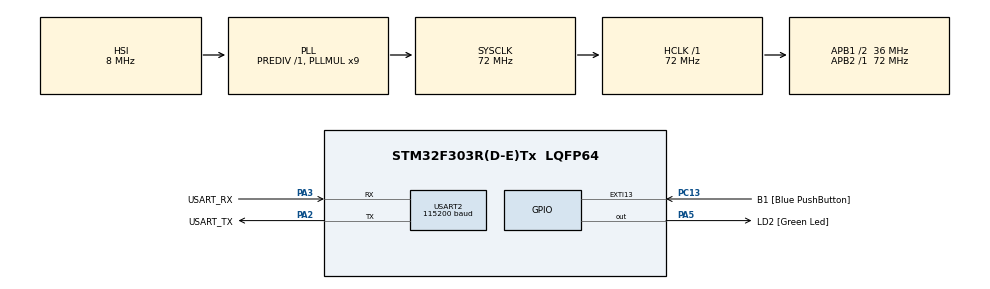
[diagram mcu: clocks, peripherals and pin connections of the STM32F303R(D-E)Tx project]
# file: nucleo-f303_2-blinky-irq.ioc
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Mcu.Family=STM32F3
Mcu.Name=STM32F303R(D-E)Tx
Mcu.Package=LQFP64
NVIC.PriorityGroup=NVIC_PRIORITYGROUP_0
PA13.GPIO_Label=TMS
PA13.Mode=Serial_Wire
PA13.Signal=SYS_JTMS-SWDIO
PA14.GPIO_Label=TCK
PA14.Mode=Serial_Wire
PA14.Signal=SYS_JTCK-SWCLK
PA2.GPIO_Label=USART_TX
PA2.GPIO_Mode=GPIO_MODE_AF_PP
PA2.GPIO_PuPd=GPIO_NOPULL
PA2.GPIO_Speed=GPIO_SPEED_FREQ_LOW
PA2.Mode=Asynchronous
PA2.Signal=USART2_TX
PA3.GPIO_Label=USART_RX
PA3.GPIO_Mode=GPIO_MODE_AF_PP
PA3.GPIO_PuPd=GPIO_NOPULL
PA3.GPIO_Speed=GPIO_SPEED_FREQ_LOW
PA3.Mode=Asynchronous
PA3.Signal=USART2_RX
PA5.GPIO_Label=LD2 [Green Led]
PA5.GPIO_Mode=GPIO_MODE_OUTPUT_PP
PA5.GPIO_PuPd=GPIO_NOPULL
PA5.GPIO_Speed=GPIO_SPEED_FREQ_LOW
PA5.Signal=GPIO_Output
PB3.GPIO_Label=SWO
PB3.Signal=SYS_JTDO-TRACESWO
PC13.GPIO_Label=B1 [Blue PushButton]
PC13.GPIO_ModeDefaultEXTI=GPIO_MODE_IT_FALLING
PC13.Signal=GPXTI13
PC14-OSC32_IN.Mode=LSE-External-Oscillator
PC14-OSC32_IN.Signal=RCC_OSC32_IN
PC15-OSC32_OUT.Mode=LSE-External-Oscillator
PC15-OSC32_OUT.Signal=RCC_OSC32_OUT
PF0-OSC_IN.Mode=HSE-External-Clock-Source
PF0-OSC_IN.Signal=RCC_OSC_IN
PF1-OSC_OUT.Signal=RCC_OSC_OUT
ProjectManager.HeapSize=0x200
ProjectManager.StackSize=0x400
ProjectManager.TargetToolchain=STM32CubeIDE
RCC.AHBFreq_Value=72000000
RCC.APB1CLKDivider=RCC_HCLK_DIV2
RCC.APB1Freq_Value=36000000
RCC.APB1TimFreq_Value=72000000
RCC.APB2Freq_Value=72000000
RCC.APB2TimFreq_Value=72000000
RCC.CortexFreq_Value=72000000
RCC.HCLKFreq_Value=72000000
RCC.HSE_VALUE=8000000
RCC.HSI_VALUE=8000000
RCC.PLLM=8
RCC.PLLMUL=RCC_PLL_MUL9
RCC.PLLN=336
RCC.PLLP=RCC_PLLP_DIV4
RCC.PLLQ=7
RCC.RCC_PLLsource_Clock_Source_FROM_HSE=RCC_HSE_PREDIV_DIV2
RCC.SYSCLKFreq_VALUE=72000000
RCC.SYSCLKSourceVirtual=RCC_SYSCLKSOURCE_PLLCLK
RCC.USBFreq_Value=72000000
USART2.BaudRate=115200
USART2.VirtualMode-Asynchronous=VM_ASYNC
board=NUCLEO-F303RE

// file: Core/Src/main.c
/* USER CODE BEGIN Header */
/*
Ledin vilkutus kuormittamatta pääohjelmaa

Pääohjelmassa looppi joka kirjoittaa tekstiä UART2:een
Tiedostossa stm32f3xx_it.c lisätty SysTick-keskeytyspalveluun ledin vätkytys
*/
/* USER CODE END Header */

#include "main.h"

/* USER CODE BEGIN Includes */
#include <stdio.h>
#include <errno.h>
#include  <sys/unistd.h> // STDOUT_FILENO, STDERR_FILENO

/* USER CODE END Includes */

UART_HandleTypeDef huart2;

void SystemClock_Config(void);
static void MX_GPIO_Init(void);
static void MX_USART2_UART_Init(void);

/* USER CODE BEGIN 0 */
int _write(int fd, char* ptr, int len) {
  HAL_StatusTypeDef hstatus;

  if (fd == STDOUT_FILENO || fd == STDERR_FILENO) {
    hstatus = HAL_UART_Transmit(&huart2, (uint8_t *) ptr, len, HAL_MAX_DELAY);
    if (hstatus == HAL_OK)
      return len;
    else
      return EIO;
  }
  errno = EBADF;
  return -1;
}

/* USER CODE END 0 */

int main(void)
{

  /* MCU Configuration--------------------------------------------------------*/

  /* Reset of all peripherals, Initializes the Flash interface and the Systick. */
  HAL_Init();

  /* Configure the system clock */
  SystemClock_Config();

  /* Initialize all configured peripherals */
  MX_GPIO_Init();
  MX_USART2_UART_Init();

  /* Infinite loop */
  /* USER CODE BEGIN WHILE */
  while (1)
  {
	  printf("Hello, World!\r\n");
	  HAL_Delay( 1000);
    /* USER CODE END WHILE */

  }
}

void SystemClock_Config(void)
{
  RCC_OscInitTypeDef RCC_OscInitStruct = {0};
  RCC_ClkInitTypeDef RCC_ClkInitStruct = {0};
  RCC_PeriphCLKInitTypeDef PeriphClkInit = {0};

  /** Initializes the CPU, AHB and APB busses clocks
  */
  RCC_OscInitStruct.OscillatorType = RCC_OSCILLATORTYPE_HSI;
  RCC_OscInitStruct.HSIState = RCC_HSI_ON;
  RCC_OscInitStruct.HSICalibrationValue = RCC_HSICALIBRATION_DEFAULT;
  RCC_OscInitStruct.PLL.PLLState = RCC_PLL_ON;
  RCC_OscInitStruct.PLL.PLLSource = RCC_PLLSOURCE_HSI;
  RCC_OscInitStruct.PLL.PLLMUL = RCC_PLL_MUL9;
  RCC_OscInitStruct.PLL.PREDIV = RCC_PREDIV_DIV1;
  if (HAL_RCC_OscConfig(&RCC_OscInitStruct) != HAL_OK)
  {
    Error_Handler();
  }
  /** Initializes the CPU, AHB and APB busses clocks
  */
  RCC_ClkInitStruct.ClockType = RCC_CLOCKTYPE_HCLK|RCC_CLOCKTYPE_SYSCLK
                              |RCC_CLOCKTYPE_PCLK1|RCC_CLOCKTYPE_PCLK2;
  RCC_ClkInitStruct.SYSCLKSource = RCC_SYSCLKSOURCE_PLLCLK;
  RCC_ClkInitStruct.AHBCLKDivider = RCC_SYSCLK_DIV1;
  RCC_ClkInitStruct.APB1CLKDivider = RCC_HCLK_DIV2;
  RCC_ClkInitStruct.APB2CLKDivider = RCC_HCLK_DIV1;

  if (HAL_RCC_ClockConfig(&RCC_ClkInitStruct, FLASH_LATENCY_2) != HAL_OK)
  {
    Error_Handler();
  }
  PeriphClkInit.PeriphClockSelection = RCC_PERIPHCLK_USART2;
  PeriphClkInit.Usart2ClockSelection = RCC_USART2CLKSOURCE_PCLK1;
  if (HAL_RCCEx_PeriphCLKConfig(&PeriphClkInit) != HAL_OK)
  {
    Error_Handler();
  }
}

static void MX_USART2_UART_Init(void)
{

  huart2.Instance = USART2;
  huart2.Init.BaudRate = 115200;
  huart2.Init.WordLength = UART_WORDLENGTH_8B;
  huart2.Init.StopBits = UART_STOPBITS_1;
  huart2.Init.Parity = UART_PARITY_NONE;
  huart2.Init.Mode = UART_MODE_TX_RX;
  huart2.Init.HwFlowCtl = UART_HWCONTROL_NONE;
  huart2.Init.OverSampling = UART_OVERSAMPLING_16;
  huart2.Init.OneBitSampling = UART_ONE_BIT_SAMPLE_DISABLE;
  huart2.AdvancedInit.AdvFeatureInit = UART_ADVFEATURE_NO_INIT;
  if (HAL_UART_Init(&huart2) != HAL_OK)
  {
    Error_Handler();
  }

}

static void MX_GPIO_Init(void)
{
  GPIO_InitTypeDef GPIO_InitStruct = {0};

  /* GPIO Ports Clock Enable */
  __HAL_RCC_GPIOC_CLK_ENABLE();
  __HAL_RCC_GPIOF_CLK_ENABLE();
  __HAL_RCC_GPIOA_CLK_ENABLE();
  __HAL_RCC_GPIOB_CLK_ENABLE();

  /*Configure GPIO pin Output Level */
  HAL_GPIO_WritePin(LD2_GPIO_Port, LD2_Pin, GPIO_PIN_RESET);

  /*Configure GPIO pin : B1_Pin */
  GPIO_InitStruct.Pin = B1_Pin;
  GPIO_InitStruct.Mode = GPIO_MODE_IT_FALLING;
  GPIO_InitStruct.Pull = GPIO_NOPULL;
  HAL_GPIO_Init(B1_GPIO_Port, &GPIO_InitStruct);

  /*Configure GPIO pin : LD2_Pin */
  GPIO_InitStruct.Pin = LD2_Pin;
  GPIO_InitStruct.Mode = GPIO_MODE_OUTPUT_PP;
  GPIO_InitStruct.Pull = GPIO_NOPULL;
  GPIO_InitStruct.Speed = GPIO_SPEED_FREQ_LOW;
  HAL_GPIO_Init(LD2_GPIO_Port, &GPIO_InitStruct);

}

void Error_Handler(void)
{
}

/************************ (C) COPYRIGHT STMicroelectronics *****END OF FILE****/
